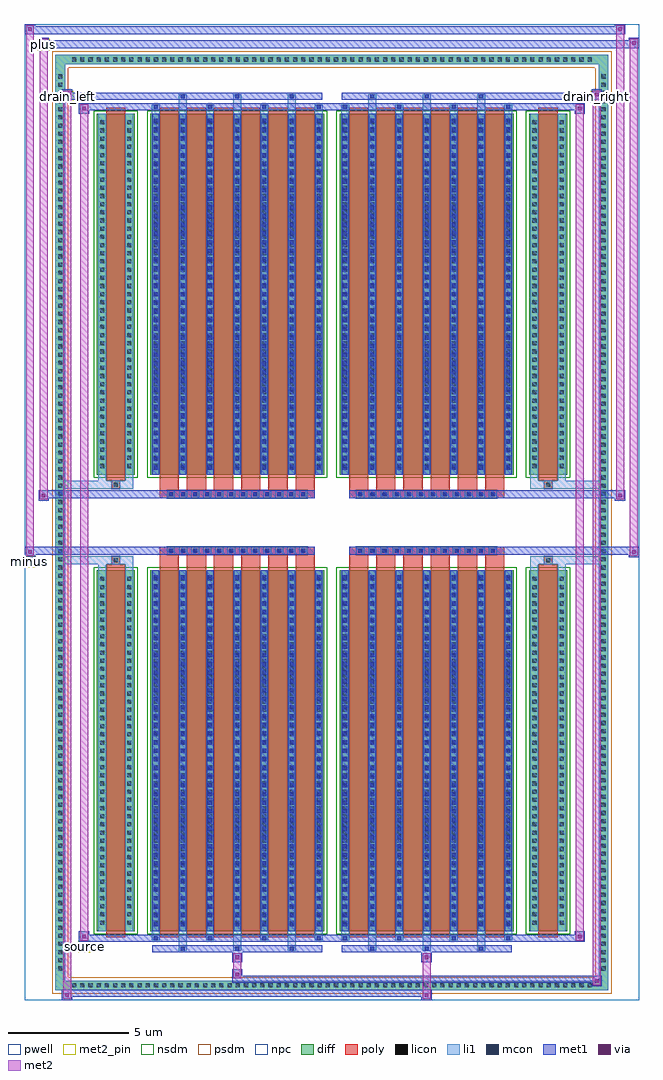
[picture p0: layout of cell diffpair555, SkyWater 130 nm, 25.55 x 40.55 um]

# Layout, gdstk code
import gdstk
lib = gdstk.Library(unit=1e-6, precision=5e-09)
def R(c, l, rs):  # rectangles x0, y0, x1, y1
    for r in rs: c.add(gdstk.rectangle(r[:2], r[2:], *l))
def A(c, l, x, y, w, h, nx, ny, dx, dy):  # array of equal rectangles
    R(c, l, [(x+i*dx, y+j*dy, x+i*dx+w, y+j*dy+h) for i in range(nx) for j in range(ny)])
def P(c, l, *ps):  # polygons
    for p in ps: c.add(gdstk.Polygon(p, *l))
pwell = (64, 44)
diff = (65, 20)
poly = (66, 20)
licon = (66, 44)
li1 = (67, 20)
mcon = (67, 44)
met1 = (68, 20)
via = (68, 44)
met2_pin = (69, 16)
met2 = (69, 20)
nsdm = (93, 44)
psdm = (94, 20)
npc = (95, 20)

diffpair555 = lib.new_cell('diffpair555')
R(diffpair555, pwell, [(-12.76,-19.84,12.76,20.71), (-10.08,-18.03,-0.01,-0.805), (0.01,-18.03,10.08,-0.805), (-10.08,0.805,-0.01,18.03), (0.01,0.805,10.08,18.03)])
A(diffpair555, diff, -10.915, -19.44, 0.41, 0.41, 64, 2, 0.34, 38.47)
A(diffpair555, diff, -11.49, -18.735, 0.41, 0.41, 1, 110, 0, 0.34)
A(diffpair555, diff, 11.08, -18.735, 0.41, 0.41, 1, 110, 0, 0.34)
R(diffpair555, diff, [(-10.915,-19.44,10.915,-19.03), (-11.49,-18.735,-11.08,18.735), (11.08,-18.735,11.49,18.735), (-9.77,-16.985,-8.19,-1.985), (-7.55,-16.985,-0.32,-1.985), (0.32,-16.985,7.55,-1.985), (8.19,-16.985,9.77,-1.985), (-9.77,1.985,-8.19,16.985), (-7.55,1.985,-0.32,16.985), (0.32,1.985,7.55,16.985), (8.19,1.985,9.77,16.985), (-10.915,19.03,10.915,19.44)])
P(diffpair555, diff, [(11.49,19.44),(-11.49,19.44),(-11.49,-19.03),(-11.08,-19.03),(-11.08,19.03),(11.08,19.03),(11.08,-19.03),(-11.08,-19.03),(-11.49,-19.03),(-11.49,-19.44),(11.49,-19.44)])
A(diffpair555, poly, -7.16, -17.235, 0.8, 15.5, 6, 2, 1.13, 18.97)
A(diffpair555, poly, 0.71, -17.235, 0.8, 15.5, 6, 2, 1.13, 18.97)
A(diffpair555, poly, -7.16, -1.735, 0.8, 0.4, 6, 2, 1.13, 3.07)
A(diffpair555, poly, 0.71, -1.735, 0.8, 0.4, 6, 2, 1.13, 3.07)
A(diffpair555, poly, -6.85, -1.335, 0.33, 0.33, 12, 2, 0.5, 2.34)
A(diffpair555, poly, 1.02, -1.335, 0.33, 0.33, 12, 2, 0.5, 2.34)
R(diffpair555, poly, [(-9.38,-17.235,-8.58,-1.735), (8.58,-17.235,9.38,-1.735), (-9.145,-1.735,-8.815,-1.405), (-9.145,-1.735,-8.815,-1.405), (8.815,-1.735,9.145,-1.405), (8.815,-1.735,9.145,-1.405), (-7.16,-1.335,-0.71,-1.005), (0.71,-1.335,7.16,-1.005), (-7.16,1.005,-0.71,1.335), (0.71,1.005,7.16,1.335), (-9.145,1.405,-8.815,1.735), (-9.145,1.405,-8.815,1.735), (8.815,1.405,9.145,1.735), (8.815,1.405,9.145,1.735), (-9.38,1.735,-8.58,17.235), (8.58,1.735,9.38,17.235)])
A(diffpair555, licon, -10.795, -19.32, 0.17, 0.17, 64, 2, 0.34, 38.47)
A(diffpair555, licon, -11.37, -18.615, 0.17, 0.17, 1, 110, 0, 0.34)
A(diffpair555, licon, 11.2, -18.615, 0.17, 0.17, 1, 110, 0, 0.34)
A(diffpair555, licon, -9.63, -16.71, 0.17, 0.17, 1, 43, 0, 0.34)
A(diffpair555, licon, -8.5, -16.71, 0.17, 0.17, 1, 43, 0, 0.34)
A(diffpair555, licon, -7.41, -16.71, 0.17, 0.17, 7, 43, 1.13, 0.34)
A(diffpair555, licon, 0.46, -16.71, 0.17, 0.17, 7, 43, 1.13, 0.34)
A(diffpair555, licon, 8.33, -16.71, 0.17, 0.17, 1, 43, 0, 0.34)
A(diffpair555, licon, 9.46, -16.71, 0.17, 0.17, 1, 43, 0, 0.34)
A(diffpair555, licon, -6.77, -1.255, 0.17, 0.17, 12, 2, 0.5, 2.34)
A(diffpair555, licon, 1.1, -1.255, 0.17, 0.17, 12, 2, 0.5, 2.34)
A(diffpair555, licon, -9.63, 2.26, 0.17, 0.17, 1, 43, 0, 0.34)
A(diffpair555, licon, -8.5, 2.26, 0.17, 0.17, 1, 43, 0, 0.34)
A(diffpair555, licon, -7.41, 2.26, 0.17, 0.17, 7, 43, 1.13, 0.34)
A(diffpair555, licon, 0.46, 2.26, 0.17, 0.17, 7, 43, 1.13, 0.34)
A(diffpair555, licon, 8.33, 2.26, 0.17, 0.17, 1, 43, 0, 0.34)
A(diffpair555, licon, 9.46, 2.26, 0.17, 0.17, 1, 43, 0, 0.34)
R(diffpair555, licon, [(-9.065,-1.655,-8.895,-1.485), (8.895,-1.655,9.065,-1.485), (-9.065,1.485,-8.895,1.655), (8.895,1.485,9.065,1.655)])
A(diffpair555, li1, -10.875, -19.4, 0.33, 0.33, 64, 2, 0.34, 38.47)
A(diffpair555, li1, -11.45, -18.695, 0.33, 0.33, 1, 110, 0, 0.34)
A(diffpair555, li1, 11.12, -18.695, 0.33, 0.33, 1, 110, 0, 0.34)
A(diffpair555, li1, -6.36, -17.79, 0.33, 0.805, 3, 2, 2.26, 34.775)
A(diffpair555, li1, -6.28, -17.79, 0.17, 0.17, 3, 2, 2.26, 35.41)
A(diffpair555, li1, 1.51, -17.79, 0.33, 0.805, 3, 2, 2.26, 34.775)
A(diffpair555, li1, 1.59, -17.79, 0.17, 0.17, 3, 2, 2.26, 35.41)
A(diffpair555, li1, -7.49, -17.36, 0.33, 0.375, 4, 2, 2.26, 34.345)
A(diffpair555, li1, -7.41, -17.36, 0.17, 0.17, 4, 2, 2.26, 34.55)
A(diffpair555, li1, 0.38, -17.36, 0.33, 0.375, 4, 2, 2.26, 34.345)
A(diffpair555, li1, 0.46, -17.36, 0.17, 0.17, 4, 2, 2.26, 34.55)
A(diffpair555, li1, -7.49, -16.985, 0.33, 15, 7, 2, 1.13, 18.97)
A(diffpair555, li1, 0.38, -16.985, 0.33, 15, 7, 2, 1.13, 18.97)
A(diffpair555, li1, -9.71, -16.79, 0.33, 0.33, 1, 43, 0, 0.34)
A(diffpair555, li1, -8.58, -16.79, 0.33, 0.33, 1, 43, 0, 0.34)
A(diffpair555, li1, -7.49, -16.79, 0.33, 0.33, 7, 43, 1.13, 0.34)
A(diffpair555, li1, 0.38, -16.79, 0.33, 0.33, 7, 43, 1.13, 0.34)
A(diffpair555, li1, 8.25, -16.79, 0.33, 0.33, 1, 43, 0, 0.34)
A(diffpair555, li1, 9.38, -16.79, 0.33, 0.33, 1, 43, 0, 0.34)
A(diffpair555, li1, -7.41, -16.77, 0.17, 0.17, 7, 41, 1.13, 0.36)
A(diffpair555, li1, -7.41, -16.77, 0.17, 14.57, 7, 2, 1.13, 18.97)
A(diffpair555, li1, 0.46, -16.77, 0.17, 0.17, 7, 41, 1.13, 0.36)
A(diffpair555, li1, 0.46, -16.77, 0.17, 14.57, 7, 2, 1.13, 18.97)
A(diffpair555, li1, -6.85, -1.335, 0.33, 0.33, 12, 2, 0.5, 2.34)
A(diffpair555, li1, 1.02, -1.335, 0.33, 0.33, 12, 2, 0.5, 2.34)
A(diffpair555, li1, -9.71, 2.18, 0.33, 0.33, 1, 43, 0, 0.34)
A(diffpair555, li1, -8.58, 2.18, 0.33, 0.33, 1, 43, 0, 0.34)
A(diffpair555, li1, -7.49, 2.18, 0.33, 0.33, 7, 43, 1.13, 0.34)
A(diffpair555, li1, 0.38, 2.18, 0.33, 0.33, 7, 43, 1.13, 0.34)
A(diffpair555, li1, 8.25, 2.18, 0.33, 0.33, 1, 43, 0, 0.34)
A(diffpair555, li1, 9.38, 2.18, 0.33, 0.33, 1, 43, 0, 0.34)
A(diffpair555, li1, -7.41, 2.2, 0.17, 0.17, 7, 41, 1.13, 0.36)
A(diffpair555, li1, 0.46, 2.2, 0.17, 0.17, 7, 41, 1.13, 0.36)
R(diffpair555, li1, [(-11.49,-19.44,-11.08,-19.03), (-11.49,-19.44,-11.08,-19.03), (-11.08,-19.44,11.08,-19.03), (11.08,-19.44,11.49,-19.03), (11.08,-19.44,11.49,-19.03), (-11.49,-19.03,-11.08,19.03), (11.08,-19.03,11.49,19.03), (-9.71,-16.985,-9.38,-1.985), (-8.58,-16.985,-8.25,-1.985), (8.25,-16.985,8.58,-1.985), (9.38,-16.985,9.71,-1.985), (-9.71,-1.985,-9.38,-1.405), (-8.58,-1.985,-8.25,-1.405), (8.25,-1.985,8.58,-1.405), (9.38,-1.985,9.71,-1.405), (-11.49,-1.735,-9.145,-1.405), (-9.71,-1.735,-9.145,-1.405), (-9.145,-1.735,-8.815,-1.405), (-8.815,-1.735,-8.25,-1.405), (8.25,-1.735,8.815,-1.405), (8.815,-1.735,9.145,-1.405), (8.815,-1.735,11.49,-1.405), (9.145,-1.735,9.71,-1.405), (-11.49,1.405,-9.145,1.735), (-9.71,1.405,-9.145,1.735), (-9.71,1.405,-9.38,1.985), (-9.145,1.405,-8.815,1.735), (-8.815,1.405,-8.25,1.735), (-8.58,1.405,-8.25,1.985), (8.25,1.405,8.815,1.735), (8.25,1.405,8.58,1.985), (8.815,1.405,9.145,1.735), (8.815,1.405,11.49,1.735), (9.145,1.405,9.71,1.735), (9.38,1.405,9.71,1.985), (-9.71,1.985,-9.38,16.985), (-8.58,1.985,-8.25,16.985), (8.25,1.985,8.58,16.985), (9.38,1.985,9.71,16.985), (-11.49,19.03,-11.08,19.44), (-11.49,19.03,-11.08,19.44), (-11.08,19.03,11.08,19.44), (11.08,19.03,11.49,19.44), (11.08,19.03,11.49,19.44)])
A(diffpair555, mcon, -6.28, -17.79, 0.17, 0.17, 3, 2, 2.26, 35.41)
A(diffpair555, mcon, 1.59, -17.79, 0.17, 0.17, 3, 2, 2.26, 35.41)
A(diffpair555, mcon, -7.41, -17.36, 0.17, 0.17, 4, 2, 2.26, 34.55)
A(diffpair555, mcon, 0.46, -17.36, 0.17, 0.17, 4, 2, 2.26, 34.55)
A(diffpair555, mcon, -7.41, -16.77, 0.17, 0.17, 7, 41, 1.13, 0.36)
A(diffpair555, mcon, 0.46, -16.77, 0.17, 0.17, 7, 41, 1.13, 0.36)
A(diffpair555, mcon, -6.77, -1.255, 0.17, 0.17, 12, 2, 0.5, 2.34)
A(diffpair555, mcon, 1.1, -1.255, 0.17, 0.17, 12, 2, 0.5, 2.34)
A(diffpair555, mcon, -7.41, 2.2, 0.17, 0.17, 7, 41, 1.13, 0.36)
A(diffpair555, mcon, 0.46, 2.2, 0.17, 0.17, 7, 41, 1.13, 0.36)
A(diffpair555, met1, -6.34, -17.85, 0.29, 0.29, 3, 2, 2.26, 35.41)
A(diffpair555, met1, 1.53, -17.85, 0.29, 0.29, 3, 2, 2.26, 35.41)
A(diffpair555, met1, -7.47, -17.42, 0.29, 0.29, 4, 2, 2.26, 34.55)
A(diffpair555, met1, 0.4, -17.42, 0.29, 0.29, 4, 2, 2.26, 34.55)
A(diffpair555, met1, -7.47, -16.985, 0.29, 15, 7, 2, 1.13, 18.97)
A(diffpair555, met1, 0.4, -16.985, 0.29, 15, 7, 2, 1.13, 18.97)
A(diffpair555, met1, -7.47, -16.83, 0.29, 0.29, 7, 41, 1.13, 0.36)
A(diffpair555, met1, 0.4, -16.83, 0.29, 0.29, 7, 41, 1.13, 0.36)
A(diffpair555, met1, -6.83, -1.315, 0.29, 0.29, 12, 2, 0.5, 2.34)
A(diffpair555, met1, 1.04, -1.315, 0.29, 0.29, 12, 2, 0.5, 2.34)
A(diffpair555, met1, -7.47, 2.14, 0.29, 0.29, 7, 41, 1.13, 0.36)
A(diffpair555, met1, 0.4, 2.14, 0.29, 0.29, 7, 41, 1.13, 0.36)
R(diffpair555, met1, [(-11.22,-19.84,-10.79,-19.41), (3.72,-19.84,4.15,-19.41), (-11.22,-19.7,4.15,-19.41), (10.79,-19.27,11.22,-18.84), (-4.15,-19.13,11.22,-18.84), (-4.15,-18.99,-3.72,-18.56), (-4.15,-18.28,-3.72,-17.85), (3.72,-18.28,4.15,-17.85), (-7.47,-17.85,-0.4,-17.56), (0.4,-17.85,7.47,-17.56), (-10.51,-17.42,-10.08,-16.99), (-10.51,-17.42,-7.47,-17.13), (-7.47,-17.42,-0.4,-17.13), (-0.4,-17.42,0.4,-17.13), (0.4,-17.42,7.47,-17.13), (7.47,-17.42,10.51,-17.13), (10.08,-17.42,10.51,-16.99), (-12.76,-1.435,-12.33,-1.005), (12.33,-1.435,12.76,-1.005), (-12.76,-1.335,-0.71,-1.005), (-7.16,-1.335,-0.71,-1.005), (0.71,-1.335,7.16,-1.005), (0.71,-1.335,12.76,-1.005), (-12.19,0.905,-11.76,1.335), (11.76,0.905,12.19,1.335), (-12.19,1.005,-7.16,1.335), (-7.16,1.005,-0.71,1.335), (0.71,1.005,7.16,1.335), (7.16,1.005,12.19,1.335), (-10.51,16.99,-10.08,17.42), (10.08,16.99,10.51,17.42), (-10.51,17.13,-7.47,17.42), (-7.47,17.13,-0.4,17.42), (-0.4,17.13,0.4,17.42), (0.4,17.13,7.47,17.42), (7.47,17.13,10.51,17.42), (-11.22,17.56,-10.79,17.99), (-11.22,17.56,-7.47,17.85), (-7.47,17.56,-0.4,17.85), (0.4,17.56,7.47,17.85), (7.47,17.56,11.22,17.85), (10.79,17.56,11.22,17.99), (-12.19,19.71,-11.76,20.14), (-12.19,19.71,-10.08,20.04), (-10.08,19.71,10.08,20.04), (10.08,19.71,12.76,20.04), (12.33,19.71,12.76,20.14), (-12.76,20.28,-12.33,20.71), (-12.76,20.28,-10.08,20.61), (-10.08,20.28,10.08,20.61), (10.08,20.28,12.19,20.61), (11.76,20.28,12.19,20.71)])
R(diffpair555, via, [(-11.08,-19.7,-10.93,-19.55), (3.86,-19.7,4.01,-19.55), (10.93,-19.13,11.08,-18.98), (-4.01,-18.85,-3.86,-18.7), (-4.01,-18.14,-3.86,-17.99), (3.86,-18.14,4.01,-17.99), (-10.37,-17.28,-10.22,-17.13), (10.22,-17.28,10.37,-17.13), (-12.62,-1.295,-12.47,-1.145), (12.47,-1.295,12.62,-1.145), (-12.05,1.045,-11.9,1.195), (11.9,1.045,12.05,1.195), (-10.37,17.13,-10.22,17.28), (10.22,17.13,10.37,17.28), (-11.08,17.7,-10.93,17.85), (10.93,17.7,11.08,17.85), (-12.05,19.85,-11.9,20), (12.47,19.85,12.62,20), (-12.62,20.42,-12.47,20.57), (11.9,20.42,12.05,20.57)])
R(diffpair555, met2_pin, [(-10.545,-17.87,-10.045,-17.37), (-12.795,-1.885,-12.295,-1.385), (-11.255,17.44,-10.755,17.94), (10.755,17.44,11.255,17.94), (-12.225,19.59,-11.725,20.09)])
R(diffpair555, met2, [(-11.17,-19.79,-10.84,-19.46), (-11.17,-19.79,-10.84,17.94), (3.77,-19.79,4.1,-19.46), (3.77,-19.46,4.1,-18.23), (10.84,-19.22,11.17,-18.89), (10.84,-19.22,11.17,17.94), (-4.1,-18.94,-3.77,-18.61), (-4.1,-18.61,-3.77,-18.23), (-4.1,-18.23,-3.77,-17.9), (3.77,-18.23,4.1,-17.9), (-10.46,-17.37,-10.13,-17.04), (-10.46,-17.37,-10.13,17.37), (10.13,-17.37,10.46,-17.04), (10.13,-17.37,10.46,17.37), (-12.71,-1.385,-12.38,-1.055), (-12.71,-1.385,-12.38,20.66), (12.38,-1.385,12.71,-1.055), (12.38,-1.385,12.71,20.09), (-12.14,0.955,-11.81,1.285), (-12.14,0.955,-11.81,20.09), (11.81,0.955,12.14,1.285), (11.81,0.955,12.14,20.66), (-10.46,17.04,-10.13,17.37), (10.13,17.04,10.46,17.37), (-11.17,17.61,-10.84,17.94), (10.84,17.61,11.17,17.94), (-12.14,19.76,-11.81,20.09), (12.38,19.76,12.71,20.09), (-12.71,20.33,-12.38,20.66), (11.81,20.33,12.14,20.66)])
P(diffpair555, met2, [(12.71,-1.385),(12.71,-1.385),(12.71,-1.055),(12.71,-1.055)],
  [(12.71,19.76),(12.71,19.76),(12.71,20.09),(12.71,20.09)],
  [(-12.38,-1.385),(-12.38,-1.385),(-12.38,-1.055),(-12.38,-1.055)],
  [(-12.38,20.33),(-12.38,20.33),(-12.38,20.66),(-12.38,20.66)],
  [(12.14,0.955),(12.14,0.955),(12.14,1.285),(12.14,1.285)],
  [(12.14,20.33),(12.14,20.33),(12.14,20.66),(12.14,20.66)],
  [(-11.81,0.955),(-11.81,0.955),(-11.81,1.285),(-11.81,1.285)],
  [(-11.81,19.76),(-11.81,19.76),(-11.81,20.09),(-11.81,20.09)],
  [(-10.84,-19.79),(-10.84,-19.79),(-10.84,-19.46),(-10.84,-19.46)],
  [(-10.84,17.61),(-10.84,17.61),(-10.84,17.94),(-10.84,17.94)],
  [(11.17,-19.22),(11.17,-19.22),(11.17,-18.89),(11.17,-18.89)],
  [(11.17,17.61),(11.17,17.61),(11.17,17.94),(11.17,17.94)],
  [(-10.13,-17.37),(-10.13,-17.37),(-10.13,-17.04),(-10.13,-17.04)],
  [(-10.13,17.04),(-10.13,17.04),(-10.13,17.37),(-10.13,17.37)],
  [(10.46,-17.37),(10.46,-17.37),(10.46,-17.04),(10.46,-17.04)],
  [(10.46,17.04),(10.46,17.04),(10.46,17.37),(10.46,17.37)])
R(diffpair555, nsdm, [(-9.9,-17.115,-8.06,-1.855), (-7.68,-17.115,-0.19,-1.855), (0.19,-17.115,7.68,-1.855), (8.06,-17.115,9.9,-1.855), (-9.9,1.855,-8.06,17.115), (-7.68,1.855,-0.19,17.115), (0.19,1.855,7.68,17.115), (8.06,1.855,9.9,17.115)])
P(diffpair555, psdm, [(11.62,19.57),(-11.62,19.57),(-11.62,-18.9),(-10.95,-18.9),(-10.95,18.9),(10.95,18.9),(10.95,-18.9),(-10.95,-18.9),(-11.62,-18.9),(-11.62,-19.57),(11.62,-19.57)])
A(diffpair555, npc, -6.87, -1.355, 0.37, 0.37, 12, 2, 0.5, 2.34)
A(diffpair555, npc, 1, -1.355, 0.37, 0.37, 12, 2, 0.5, 2.34)
R(diffpair555, npc, [(-9.165,-1.755,-8.795,-1.385), (8.795,-1.755,9.165,-1.385), (-6.87,-1.355,-6,-0.985), (-6.87,-1.355,-6,-0.985), (-6.37,-1.355,-5.5,-0.985), (-6.37,-1.355,-5.5,-0.985), (-5.87,-1.355,-5,-0.985), (-5.87,-1.355,-5,-0.985), (-5.37,-1.355,-4.5,-0.985), (-5.37,-1.355,-4.5,-0.985), (-4.87,-1.355,-4,-0.985), (-4.87,-1.355,-4,-0.985), (-4.37,-1.355,-3.5,-0.985), (-4.37,-1.355,-3.5,-0.985), (-3.87,-1.355,-3,-0.985), (-3.87,-1.355,-3,-0.985), (-3.37,-1.355,-2.5,-0.985), (-3.37,-1.355,-2.5,-0.985), (-2.87,-1.355,-2,-0.985), (-2.87,-1.355,-2,-0.985), (-2.37,-1.355,-1.5,-0.985), (-2.37,-1.355,-1.5,-0.985), (-1.87,-1.355,-1,-0.985), (-1.87,-1.355,-1,-0.985), (1,-1.355,1.87,-0.985), (1,-1.355,1.87,-0.985), (1.5,-1.355,2.37,-0.985), (1.5,-1.355,2.37,-0.985), (2,-1.355,2.87,-0.985), (2,-1.355,2.87,-0.985), (2.5,-1.355,3.37,-0.985), (2.5,-1.355,3.37,-0.985), (3,-1.355,3.87,-0.985), (3,-1.355,3.87,-0.985), (3.5,-1.355,4.37,-0.985), (3.5,-1.355,4.37,-0.985), (4,-1.355,4.87,-0.985), (4,-1.355,4.87,-0.985), (4.5,-1.355,5.37,-0.985), (4.5,-1.355,5.37,-0.985), (5,-1.355,5.87,-0.985), (5,-1.355,5.87,-0.985), (5.5,-1.355,6.37,-0.985), (5.5,-1.355,6.37,-0.985), (6,-1.355,6.87,-0.985), (6,-1.355,6.87,-0.985), (-6.87,0.985,-6,1.355), (-6.87,0.985,-6,1.355), (-6.37,0.985,-5.5,1.355), (-6.37,0.985,-5.5,1.355), (-5.87,0.985,-5,1.355), (-5.87,0.985,-5,1.355), (-5.37,0.985,-4.5,1.355), (-5.37,0.985,-4.5,1.355), (-4.87,0.985,-4,1.355), (-4.87,0.985,-4,1.355), (-4.37,0.985,-3.5,1.355), (-4.37,0.985,-3.5,1.355), (-3.87,0.985,-3,1.355), (-3.87,0.985,-3,1.355), (-3.37,0.985,-2.5,1.355), (-3.37,0.985,-2.5,1.355), (-2.87,0.985,-2,1.355), (-2.87,0.985,-2,1.355), (-2.37,0.985,-1.5,1.355), (-2.37,0.985,-1.5,1.355), (-1.87,0.985,-1,1.355), (-1.87,0.985,-1,1.355), (1,0.985,1.87,1.355), (1,0.985,1.87,1.355), (1.5,0.985,2.37,1.355), (1.5,0.985,2.37,1.355), (2,0.985,2.87,1.355), (2,0.985,2.87,1.355), (2.5,0.985,3.37,1.355), (2.5,0.985,3.37,1.355), (3,0.985,3.87,1.355), (3,0.985,3.87,1.355), (3.5,0.985,4.37,1.355), (3.5,0.985,4.37,1.355), (4,0.985,4.87,1.355), (4,0.985,4.87,1.355), (4.5,0.985,5.37,1.355), (4.5,0.985,5.37,1.355), (5,0.985,5.87,1.355), (5,0.985,5.87,1.355), (5.5,0.985,6.37,1.355), (5.5,0.985,6.37,1.355), (6,0.985,6.87,1.355), (6,0.985,6.87,1.355), (-9.165,1.385,-8.795,1.755), (8.795,1.385,9.165,1.755)])
diffpair555.add(gdstk.Label('minus', (-12.545,-1.635), layer=69, texttype=5))
diffpair555.add(gdstk.Label('drain_right', (11.005,17.69), layer=69, texttype=5))
diffpair555.add(gdstk.Label('drain_left', (-11.005,17.69), layer=69, texttype=5))
diffpair555.add(gdstk.Label('source', (-10.295,-17.62), layer=69, texttype=5))
diffpair555.add(gdstk.Label('plus', (-11.975,19.84), layer=69, texttype=5))

lib.write_gds('diffpair555.gds')
